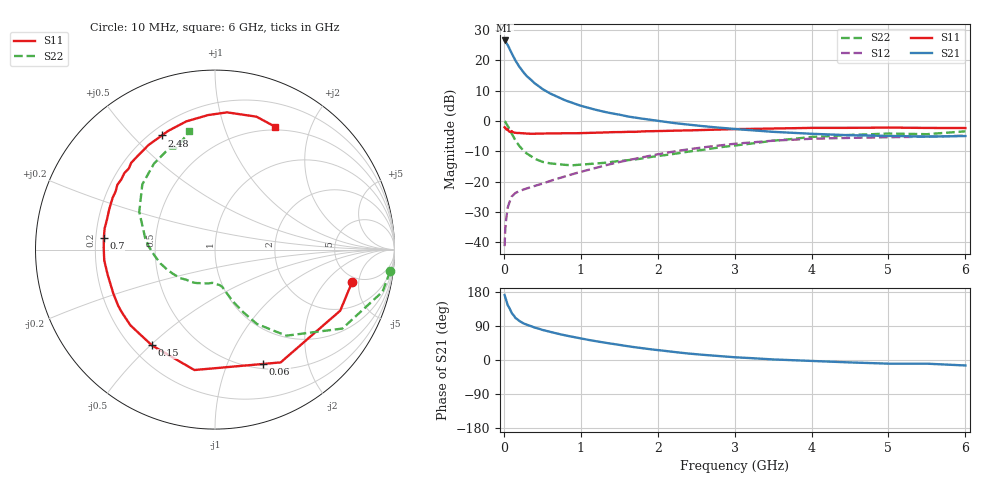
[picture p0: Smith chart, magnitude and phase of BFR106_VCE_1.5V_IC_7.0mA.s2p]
! Infineon Technologies  Discrete & RF Semiconductors
! BFR106
! VCE =  1.5 V,  IC =  7.0 mA
! Common Emitter S-Parameters:  Nov 2015
# GHz  S  MA  R  50
!  f  S11  S21  S12  S22
! GHz  MAG  ANG  MAG  ANG  MAG  ANG  MAG  ANG
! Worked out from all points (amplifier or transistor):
!   210 points, 10 MHz to 6 GHz, reference 50 ohm
!   highest |S21| = 26.5 dB at 10 MHz (marker M1)
!   |S21| within 3 dB of that: start of sweep to 77.94 MHz
!   unconditionally stable (mu >= 1): 531.7 MHz to 2.524 GHz; 4.131 GHz to end of sweep
!   at 185 MHz: K = 0.47, MSG = 20.9 dB, |S12| = -23.3 dB
!   at 1.52 GHz: K = 1.12, MAG = 5.6 dB, |S12| = -13.5 dB
!   at 6 GHz: K = 1.03, MAG = -1.0 dB, |S12| = -4.9 dB
!   S11 on the Smith chart (normalised r, x): 10 MHz: 4.31, -4.08; 60 MHz: 0.55, -1.36; 150 MHz: 0.28, -0.51; 700 MHz: 0.23, +0.05; 2.48 GHz: 0.24, +0.61; 6 GHz: 0.46, +1.51
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0.01  0.7847 -13.4  21.19 171.5  0.0086 86.1  0.983 -7.1
0.02  0.7763 -26.0  20.7 164.7  0.0172 78.2  0.9627 -14.1
0.05  0.7272 -59.8  17.87 144.9  0.0371 62.1  0.8348 -31.8
0.06  0.6917 -67.1  16.79 141.7  0.0407 58.1  0.7871 -34.7
0.1  0.6807 -99.7  13.18 124.1  0.0563 47.5  0.6233 -50.3
0.15  0.6389 -123.4  9.896 111.0  0.0647 40.3  0.4768 -60.5
0.2  0.6325 -138.1  7.862 103.2  0.0694 38.6  0.3875 -65.4
0.26  0.6235 -150.0  6.22 96.2  0.0742 38.2  0.3181 -69.9
0.3  0.6174 -156.4  5.44 92.7  0.0771 39.1  0.2892 -72.0
0.4  0.6143 -166.9  4.175 85.6  0.0846 41.6  0.2382 -76.0
0.5  0.62 -174.5  3.363 79.5  0.0923 44.4  0.2114 -79.1
0.6  0.6202 179.0  2.839 74.2  0.1021 46.9  0.1998 -82.3
0.7  0.6227 173.9  2.468 69.2  0.1116 49.3  0.1937 -86.7
0.82  0.6255 168.3  2.132 64.1  0.1242 51.4  0.1876 -91.6
1.02  0.63 159.7  1.748 56.2  0.1469 53.9  0.1911 -99.9
1.4  0.653 146.4  1.332 43.1  0.1953 54.8  0.2109 -117.6
2.02  0.6791 127.5  0.991 25.8  0.2842 50.2  0.2648 -147.6
2.48  0.7015 114.9  0.847 15.7  0.3511 44.0  0.3205 -168.4
3.1  0.734 100.6  0.719 6.2  0.4291 33.5  0.4058 166.9
4.1  0.7667 83.7  0.606 -3.4  0.5106 16.4  0.5506 135.4
5.1  0.7732 71.7  0.563 -9.7  0.5404 2.8  0.6157 113.9
6  0.7626 63.8  0.563 -14.4  0.5715 -6.9  0.6733 102.2
